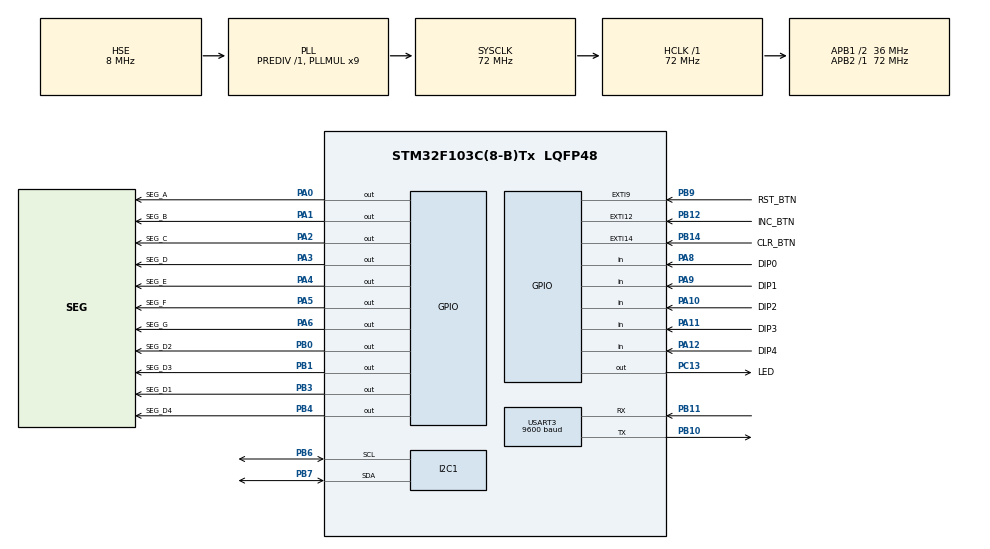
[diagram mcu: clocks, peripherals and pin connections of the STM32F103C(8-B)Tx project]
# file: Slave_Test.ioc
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I2C1.I2C_Mode=I2C_Fast
Mcu.Family=STM32F1
Mcu.Name=STM32F103C(8-B)Tx
Mcu.Package=LQFP48
NVIC.EXTI15_10_IRQn=true\:0\:0\:false\:false\:true\:true\:true\:true
NVIC.EXTI9_5_IRQn=true\:0\:0\:false\:false\:true\:true\:true\:true
NVIC.PriorityGroup=NVIC_PRIORITYGROUP_4
NVIC.USART3_IRQn=true\:0\:0\:false\:false\:true\:true\:true\:true
PA0-WKUP.GPIO_Label=SEG_A
PA0-WKUP.Signal=GPIO_Output
PA1.GPIO_Label=SEG_B
PA1.Signal=GPIO_Output
PA10.GPIO_Label=DIP2
PA10.GPIO_PuPd=GPIO_PULLUP
PA10.Signal=GPIO_Input
PA11.GPIO_Label=DIP3
PA11.GPIO_PuPd=GPIO_PULLUP
PA11.Signal=GPIO_Input
PA12.GPIO_Label=DIP4
PA12.GPIO_PuPd=GPIO_PULLUP
PA12.Signal=GPIO_Input
PA13.Mode=Serial_Wire
PA13.Signal=SYS_JTMS-SWDIO
PA14.Mode=Serial_Wire
PA14.Signal=SYS_JTCK-SWCLK
PA2.GPIO_Label=SEG_C
PA2.Signal=GPIO_Output
PA3.GPIO_Label=SEG_D
PA3.Signal=GPIO_Output
PA4.GPIO_Label=SEG_E
PA4.Signal=GPIO_Output
PA5.GPIO_Label=SEG_F
PA5.Signal=GPIO_Output
PA6.GPIO_Label=SEG_G
PA6.Signal=GPIO_Output
PA8.GPIO_Label=DIP0
PA8.GPIO_PuPd=GPIO_PULLUP
PA8.Signal=GPIO_Input
PA9.GPIO_Label=DIP1
PA9.GPIO_PuPd=GPIO_PULLUP
PA9.Signal=GPIO_Input
PB0.GPIO_Label=SEG_D2
PB0.Signal=GPIO_Output
PB1.GPIO_Label=SEG_D3
PB1.Signal=GPIO_Output
PB10.Mode=Asynchronous
PB10.Signal=USART3_TX
PB11.Mode=Asynchronous
PB11.Signal=USART3_RX
PB12.GPIO_Label=INC_BTN
PB12.Signal=GPXTI12
PB14.GPIO_Label=CLR_BTN
PB14.GPIO_ModeDefaultEXTI=GPIO_MODE_IT_RISING
PB14.Signal=GPXTI14
PB3.GPIO_Label=SEG_D1
PB3.Signal=GPIO_Output
PB4.GPIO_Label=SEG_D4
PB4.Signal=GPIO_Output
PB6.Mode=I2C
PB6.Signal=I2C1_SCL
PB7.Mode=I2C
PB7.Signal=I2C1_SDA
PB9.GPIO_Label=RST_BTN
PB9.Signal=GPXTI9
PC13-TAMPER-RTC.GPIO_Label=LED
PC13-TAMPER-RTC.PinState=GPIO_PIN_SET
PC13-TAMPER-RTC.Signal=GPIO_Output
PD0-OSC_IN.Mode=HSE-External-Oscillator
PD0-OSC_IN.Signal=RCC_OSC_IN
PD1-OSC_OUT.Mode=HSE-External-Oscillator
PD1-OSC_OUT.Signal=RCC_OSC_OUT
ProjectManager.HeapSize=0x200
ProjectManager.StackSize=0x400
ProjectManager.TargetToolchain=STM32CubeIDE
RCC.AHBFreq_Value=72000000
RCC.APB1CLKDivider=RCC_HCLK_DIV2
RCC.APB1Freq_Value=36000000
RCC.APB1TimFreq_Value=72000000
RCC.APB2Freq_Value=72000000
RCC.APB2TimFreq_Value=72000000
RCC.HCLKFreq_Value=72000000
RCC.PLLMUL=RCC_PLL_MUL9
RCC.PLLSourceVirtual=RCC_PLLSOURCE_HSE
RCC.SYSCLKFreq_VALUE=72000000
RCC.SYSCLKSource=RCC_SYSCLKSOURCE_PLLCLK
RCC.USBFreq_Value=72000000
USART3.BaudRate=9600
USART3.VirtualMode=VM_ASYNC
board=custom

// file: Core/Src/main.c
/* USER CODE BEGIN Header */
/**
  ******************************************************************************
  * @file           : main.c
  * @brief          : Main program body
  ******************************************************************************
  * @attention
  *
  * Copyright (c) 2026 STMicroelectronics.
  * All rights reserved.
  *
  * This software is licensed under terms that can be found in the LICENSE file
  * in the root directory of this software component.
  * If no LICENSE file comes with this software, it is provided AS-IS.
  *
  ******************************************************************************
  */
/* USER CODE END Header */
#include "main.h"

/* USER CODE BEGIN Includes */
#include <stdio.h>
#include <string.h>

#include "EEPROM.h"
#include "seg7.h"
#include "EEPROM_log.h"
#include "dip.h"
#include "rs485_dummy_slave.h"

/* USER CODE END Includes */

I2C_HandleTypeDef hi2c1;

UART_HandleTypeDef huart3;

/* USER CODE BEGIN PV */

//for the interrupt flags
volatile uint8_t inc_flag = 0;
volatile uint8_t rst_flag = 0;
volatile uint8_t clr_flag = 0;

// for the debouncing delay
uint32_t last_inc_time = 0;
uint32_t last_rst_time = 0;
uint32_t last_clr_time = 0;

//counter
uint16_t counter = 0;
//session no.
uint8_t session_no = 0;
//Slave id
uint8_t slave_id;
//i2c status check
HAL_StatusTypeDef i2c_status = HAL_OK;

//for debug
//SessionRecord_t dbg_record = {0};
//uint8_t 		dbg_read_ok = 0;

//SessionRecord_t dbg_old_record = {0};
//uint8_t 		dbg_old_read_ok = 0;

//volatile	uint8_t	dbg_frame_ready = 0;
//uint8_t				dbg_rx_buf[8] = {0};
//uint8_t dbg_slave_rx[8] = {0};
//volatile uint8_t dbg_slave_rx_hit = 0;
//volatile uint16_t dbg_callback_size = 0;
//
//uint8_t dbg_latched = 0;
//uint8_t dbg_latched_rx[8] = {0};
//uint16_t dbg_latched_size = 0;

//debug variables end

/* USER CODE END PV */

void SystemClock_Config(void);
static void MX_GPIO_Init(void);
void MX_I2C1_Init(void);
static void MX_USART3_UART_Init(void);
/* USER CODE BEGIN PFP */

void I2C_BusReset(void);
extern void MX_I2C1_Init(void);

/* USER CODE END PFP */

/* USER CODE BEGIN 0 */

void I2C_BusReset(void){

    // Release I2C peripheral
    HAL_I2C_DeInit(&hi2c1);

    // Configure SCL and SDA as GPIO output temporarily
    GPIO_InitTypeDef GPIO_InitStruct = {0};
    GPIO_InitStruct.Pin   = GPIO_PIN_6 | GPIO_PIN_7; // PB6=SCL, PB7=SDA
    GPIO_InitStruct.Mode  = GPIO_MODE_OUTPUT_OD;      // open drain
    GPIO_InitStruct.Pull  = GPIO_NOPULL;
    GPIO_InitStruct.Speed = GPIO_SPEED_FREQ_LOW;
    HAL_GPIO_Init(GPIOB, &GPIO_InitStruct);

    // Set both high
    HAL_GPIO_WritePin(GPIOB, GPIO_PIN_6 | GPIO_PIN_7, GPIO_PIN_SET);
    HAL_Delay(5);

    // Clock SCL 9 times to unstick slave device
    for(int i = 0; i < 9; i++){
        HAL_GPIO_WritePin(GPIOB, GPIO_PIN_6, GPIO_PIN_RESET);
        HAL_Delay(1);
        HAL_GPIO_WritePin(GPIOB, GPIO_PIN_6, GPIO_PIN_SET);
        HAL_Delay(1);
    }

    // Generate STOP condition
    HAL_GPIO_WritePin(GPIOB, GPIO_PIN_7, GPIO_PIN_RESET);
    HAL_Delay(1);
    HAL_GPIO_WritePin(GPIOB, GPIO_PIN_7, GPIO_PIN_SET);
    HAL_Delay(5);

    // Reinitialize I2C peripheral
    MX_I2C1_Init();
    HAL_Delay(10);
}

/* USER CODE END 0 */

int main(void)
{

  /* MCU Configuration--------------------------------------------------------*/

  /* Reset of all peripherals, Initializes the Flash interface and the Systick. */
  HAL_Init();

  /* Configure the system clock */
  SystemClock_Config();

  /* Initialize all configured peripherals */
  MX_GPIO_Init();
  MX_I2C1_Init();
  MX_USART3_UART_Init();
  /* USER CODE BEGIN 2 */

  I2C_BusReset();

  slave_id = DIP_ReadID();

  EEPROM_LOG_Init(&session_no, &counter);

  //RS485_Slave_Init(slave_id);
  //debug
  //HAL_UARTEx_ReceiveToIdle_IT(&huart3, dbg_slave_rx, 8);

  //debug old saved session
  //dbg_old_read_ok = EEPROM_LOG_ReadSession(2, &dbg_old_record);

  SEG7_DisplayNumber(counter);

  //Debug rs485
  RS485_Dummy_Slave_Init(slave_id);

  /* USER CODE END 2 */

  /* Infinite loop */
  /* USER CODE BEGIN WHILE */
  while (1)
  {
	  //debugginh
//	  if(dbg_slave_rx_hit && !dbg_latched){
//
//		  dbg_latched = 1;
//		  dbg_latched_size = dbg_callback_size;
//		  memcpy(dbg_latched_rx, dbg_slave_rx, 8);
//		  //end debug
//	  }

	  if(inc_flag){

		  inc_flag = 0;
		  if(counter < 9999){

			  counter++;
			  EEPROM_LOG_SaveCounter(session_no, counter);

			  //for debugging
			  //dbg_read_ok = EEPROM_LOG_ReadSession(session_no, &dbg_record);

		  }
	  }

	  	  if(rst_flag){

	  	      rst_flag = 0;
	  	      session_no++;
	  	      counter = 0;
	  	      EEPROM_LOG_CommitSession(session_no);

	  	      //for debugging
	  	      //dbg_read_ok = EEPROM_LOG_ReadSession(session_no, &dbg_record);

	  	  }

	  	  // this clr btn is for the end of the day reset.
	  	  if(clr_flag){

	  		  clr_flag = 0;
	  		  HAL_GPIO_TogglePin(LED_GPIO_Port, LED_Pin);

	  		  for (int i= 0; i<512; i++){

	  			  EEPROM_PageErase(i);
	  		  }

	  		  HAL_GPIO_TogglePin(LED_GPIO_Port, LED_Pin);
	  		  // Reset state variables
	  		  session_no = 0;
	  		  counter = 0;
	  		  EEPROM_LOG_Init(&session_no, &counter);

	  	  }

	  	  //RS485_Slave_Process(session_no, counter);

	  	  //debug rs485
	  	RS485_Dummy_Slave_Process();

	  	SEG7_DisplayNumber(counter);
    /* USER CODE END WHILE */

  }
}

void SystemClock_Config(void)
{
  RCC_OscInitTypeDef RCC_OscInitStruct = {0};
  RCC_ClkInitTypeDef RCC_ClkInitStruct = {0};

  /** Initializes the RCC Oscillators according to the specified parameters
  * in the RCC_OscInitTypeDef structure.
  */
  RCC_OscInitStruct.OscillatorType = RCC_OSCILLATORTYPE_HSE;
  RCC_OscInitStruct.HSEState = RCC_HSE_ON;
  RCC_OscInitStruct.HSEPredivValue = RCC_HSE_PREDIV_DIV1;
  RCC_OscInitStruct.HSIState = RCC_HSI_ON;
  RCC_OscInitStruct.PLL.PLLState = RCC_PLL_ON;
  RCC_OscInitStruct.PLL.PLLSource = RCC_PLLSOURCE_HSE;
  RCC_OscInitStruct.PLL.PLLMUL = RCC_PLL_MUL9;
  if (HAL_RCC_OscConfig(&RCC_OscInitStruct) != HAL_OK)
  {
    Error_Handler();
  }

  /** Initializes the CPU, AHB and APB buses clocks
  */
  RCC_ClkInitStruct.ClockType = RCC_CLOCKTYPE_HCLK|RCC_CLOCKTYPE_SYSCLK
                              |RCC_CLOCKTYPE_PCLK1|RCC_CLOCKTYPE_PCLK2;
  RCC_ClkInitStruct.SYSCLKSource = RCC_SYSCLKSOURCE_PLLCLK;
  RCC_ClkInitStruct.AHBCLKDivider = RCC_SYSCLK_DIV1;
  RCC_ClkInitStruct.APB1CLKDivider = RCC_HCLK_DIV2;
  RCC_ClkInitStruct.APB2CLKDivider = RCC_HCLK_DIV1;

  if (HAL_RCC_ClockConfig(&RCC_ClkInitStruct, FLASH_LATENCY_2) != HAL_OK)
  {
    Error_Handler();
  }
}

void MX_I2C1_Init(void)
{

  hi2c1.Instance = I2C1;
  hi2c1.Init.ClockSpeed = 400000;
  hi2c1.Init.DutyCycle = I2C_DUTYCYCLE_2;
  hi2c1.Init.OwnAddress1 = 0;
  hi2c1.Init.AddressingMode = I2C_ADDRESSINGMODE_7BIT;
  hi2c1.Init.DualAddressMode = I2C_DUALADDRESS_DISABLE;
  hi2c1.Init.OwnAddress2 = 0;
  hi2c1.Init.GeneralCallMode = I2C_GENERALCALL_DISABLE;
  hi2c1.Init.NoStretchMode = I2C_NOSTRETCH_DISABLE;
  if (HAL_I2C_Init(&hi2c1) != HAL_OK)
  {
    Error_Handler();
  }

}

static void MX_USART3_UART_Init(void)
{

  huart3.Instance = USART3;
  huart3.Init.BaudRate = 9600;
  huart3.Init.WordLength = UART_WORDLENGTH_8B;
  huart3.Init.StopBits = UART_STOPBITS_1;
  huart3.Init.Parity = UART_PARITY_NONE;
  huart3.Init.Mode = UART_MODE_TX_RX;
  huart3.Init.HwFlowCtl = UART_HWCONTROL_NONE;
  huart3.Init.OverSampling = UART_OVERSAMPLING_16;
  if (HAL_UART_Init(&huart3) != HAL_OK)
  {
    Error_Handler();
  }

}

static void MX_GPIO_Init(void)
{
  GPIO_InitTypeDef GPIO_InitStruct = {0};

  /* GPIO Ports Clock Enable */
  __HAL_RCC_GPIOC_CLK_ENABLE();
  __HAL_RCC_GPIOD_CLK_ENABLE();
  __HAL_RCC_GPIOA_CLK_ENABLE();
  __HAL_RCC_GPIOB_CLK_ENABLE();

  /*Configure GPIO pin Output Level */
  HAL_GPIO_WritePin(LED_GPIO_Port, LED_Pin, GPIO_PIN_SET);

  /*Configure GPIO pin Output Level */
  HAL_GPIO_WritePin(GPIOA, SEG_A_Pin|SEG_B_Pin|SEG_C_Pin|SEG_D_Pin
                          |SEG_E_Pin|SEG_F_Pin|SEG_G_Pin, GPIO_PIN_RESET);

  /*Configure GPIO pin Output Level */
  HAL_GPIO_WritePin(GPIOB, SEG_D2_Pin|SEG_D3_Pin|SEG_D1_Pin|SEG_D4_Pin, GPIO_PIN_RESET);

  /*Configure GPIO pin : LED_Pin */
  GPIO_InitStruct.Pin = LED_Pin;
  GPIO_InitStruct.Mode = GPIO_MODE_OUTPUT_PP;
  GPIO_InitStruct.Pull = GPIO_NOPULL;
  GPIO_InitStruct.Speed = GPIO_SPEED_FREQ_LOW;
  HAL_GPIO_Init(LED_GPIO_Port, &GPIO_InitStruct);

  /*Configure GPIO pins : SEG_A_Pin SEG_B_Pin SEG_C_Pin SEG_D_Pin
                           SEG_E_Pin SEG_F_Pin SEG_G_Pin */
  GPIO_InitStruct.Pin = SEG_A_Pin|SEG_B_Pin|SEG_C_Pin|SEG_D_Pin
                          |SEG_E_Pin|SEG_F_Pin|SEG_G_Pin;
  GPIO_InitStruct.Mode = GPIO_MODE_OUTPUT_PP;
  GPIO_InitStruct.Pull = GPIO_NOPULL;
  GPIO_InitStruct.Speed = GPIO_SPEED_FREQ_LOW;
  HAL_GPIO_Init(GPIOA, &GPIO_InitStruct);

  /*Configure GPIO pins : SEG_D2_Pin SEG_D3_Pin SEG_D1_Pin SEG_D4_Pin */
  GPIO_InitStruct.Pin = SEG_D2_Pin|SEG_D3_Pin|SEG_D1_Pin|SEG_D4_Pin;
  GPIO_InitStruct.Mode = GPIO_MODE_OUTPUT_PP;
  GPIO_InitStruct.Pull = GPIO_NOPULL;
  GPIO_InitStruct.Speed = GPIO_SPEED_FREQ_LOW;
  HAL_GPIO_Init(GPIOB, &GPIO_InitStruct);

  /*Configure GPIO pins : INC_BTN_Pin CLR_BTN_Pin RST_BTN_Pin */
  GPIO_InitStruct.Pin = INC_BTN_Pin|CLR_BTN_Pin|RST_BTN_Pin;
  GPIO_InitStruct.Mode = GPIO_MODE_IT_RISING;
  GPIO_InitStruct.Pull = GPIO_NOPULL;
  HAL_GPIO_Init(GPIOB, &GPIO_InitStruct);

  /*Configure GPIO pins : DIP0_Pin DIP1_Pin DIP2_Pin DIP3_Pin
                           DIP4_Pin */
  GPIO_InitStruct.Pin = DIP0_Pin|DIP1_Pin|DIP2_Pin|DIP3_Pin
                          |DIP4_Pin;
  GPIO_InitStruct.Mode = GPIO_MODE_INPUT;
  GPIO_InitStruct.Pull = GPIO_PULLUP;
  HAL_GPIO_Init(GPIOA, &GPIO_InitStruct);

  /* EXTI interrupt init*/
  HAL_NVIC_SetPriority(EXTI9_5_IRQn, 0, 0);
  HAL_NVIC_EnableIRQ(EXTI9_5_IRQn);

  HAL_NVIC_SetPriority(EXTI15_10_IRQn, 0, 0);
  HAL_NVIC_EnableIRQ(EXTI15_10_IRQn);

}

/* USER CODE BEGIN 4 */

void HAL_UARTEx_RxEventCallback(UART_HandleTypeDef *huart, uint16_t size){

	if(huart->Instance == USART3){

		//
		//debug
		//dbg_slave_rx_hit = 1;
		//dbg_callback_size = size;
		//end debug
		RS485_Dummy_Slave_RxCallback(size);

	}
}

void HAL_GPIO_EXTI_Callback(uint16_t GPIO_PIN){

	uint32_t now = HAL_GetTick();

	if(GPIO_PIN == GPIO_PIN_9){

		if(now - last_rst_time > 500){

			last_rst_time = now;
			rst_flag = 1;
		}
	}
	else if(GPIO_PIN == GPIO_PIN_14){

		if(now - last_clr_time >500){

			last_clr_time = now;
			clr_flag = 1;
		}
	}
	else if(GPIO_PIN == GPIO_PIN_12){

		if(now - last_inc_time > 500){

			last_inc_time = now;
			inc_flag = 1;
		}
	}
}

/* USER CODE END 4 */

void Error_Handler(void)
{
  __disable_irq();
  while (1)
  {
  }
}
